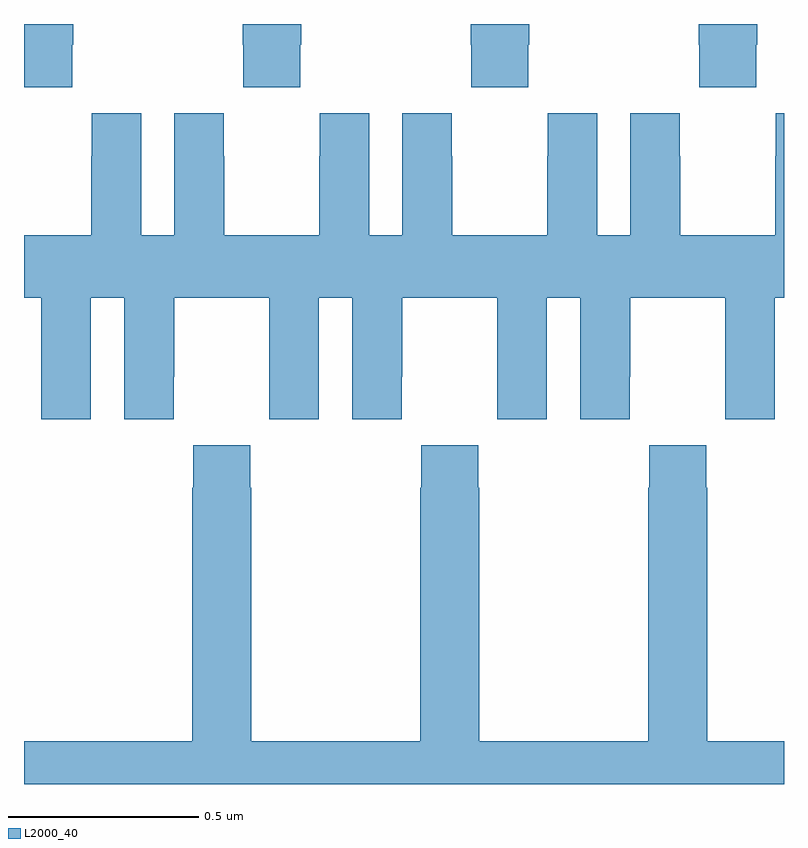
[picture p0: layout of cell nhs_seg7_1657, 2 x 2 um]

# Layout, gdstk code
import gdstk
lib = gdstk.Library(unit=1e-6, precision=1e-09)
def P(c, l, *ps):  # polygons
    for p in ps: c.add(gdstk.Polygon(p, *l))
L2000_40 = (2000, 40)

nhs_seg7_1657 = lib.new_cell('nhs_seg7_1657')
P(nhs_seg7_1657, L2000_40, [(134.127,1003.945),(134.13,1003.945),(134.13,1004),(134,1004),(134,1003.833),(134.127,1003.833)],
  [(134.727,1003.945),(134.73,1003.945),(134.73,1004),(134.575,1004),(134.575,1003.945),(134.577,1003.945),(134.577,1003.833),(134.727,1003.833)],
  [(135.327,1003.945),(135.33,1003.945),(135.33,1004),(135.175,1004),(135.175,1003.945),(135.177,1003.945),(135.177,1003.833),(135.327,1003.833)],
  [(135.927,1003.945),(135.93,1003.945),(135.93,1004),(135.775,1004),(135.775,1003.945),(135.777,1003.945),(135.777,1003.833),(135.927,1003.833)],
  [(134,1003.28),(134.045,1003.28),(134.045,1003.072),(134.046,1003.072),(134.046,1002.96),(134.176,1002.96),(134.176,1003.28),(134.264,1003.28),(134.264,1002.96),(134.394,1002.96),(134.394,1003.072),(134.395,1003.072),(134.395,1003.28),(134.645,1003.28),(134.645,1003.072),(134.646,1003.072),(134.646,1002.96),(134.776,1002.96),(134.776,1003.28),(134.864,1003.28),(134.864,1002.96),(134.994,1002.96),(134.994,1003.072),(134.995,1003.072),(134.995,1003.28),(135.245,1003.28),(135.245,1003.072),(135.246,1003.072),(135.246,1002.96),(135.376,1002.96),(135.376,1003.28),(135.464,1003.28),(135.464,1002.96),(135.594,1002.96),(135.594,1003.072),(135.595,1003.072),(135.595,1003.28),(135.845,1003.28),(135.845,1003.072),(135.846,1003.072),(135.846,1002.96),(135.976,1002.96),(135.976,1003.28),(136,1003.28),(136,1003.765),(135.978,1003.765),(135.978,1003.652),(135.977,1003.652),(135.977,1003.444),(135.727,1003.444),(135.727,1003.652),(135.726,1003.652),(135.726,1003.765),(135.596,1003.765),(135.596,1003.444),(135.508,1003.444),(135.508,1003.765),(135.378,1003.765),(135.378,1003.652),(135.377,1003.652),(135.377,1003.444),(135.127,1003.444),(135.127,1003.652),(135.126,1003.652),(135.126,1003.765),(134.996,1003.765),(134.996,1003.444),(134.908,1003.444),(134.908,1003.765),(134.778,1003.765),(134.778,1003.652),(134.777,1003.652),(134.777,1003.444),(134.527,1003.444),(134.527,1003.652),(134.526,1003.652),(134.526,1003.765),(134.396,1003.765),(134.396,1003.444),(134.308,1003.444),(134.308,1003.765),(134.178,1003.765),(134.178,1003.652),(134.177,1003.652),(134.177,1003.444),(134,1003.444)],
  [(136,1002.112),(135.798,1002.112),(135.798,1002.779),(135.795,1002.779),(135.795,1002.892),(135.645,1002.892),(135.645,1002.779),(135.643,1002.779),(135.643,1002.112),(135.198,1002.112),(135.198,1002.779),(135.195,1002.779),(135.195,1002.892),(135.045,1002.892),(135.045,1002.779),(135.043,1002.779),(135.043,1002.112),(134.598,1002.112),(134.598,1002.779),(134.595,1002.779),(134.595,1002.892),(134.445,1002.892),(134.445,1002.779),(134.443,1002.779),(134.443,1002.112),(134,1002.112),(134,1002),(136,1002)])

lib.write_gds('nhs_seg7_1657.gds')
